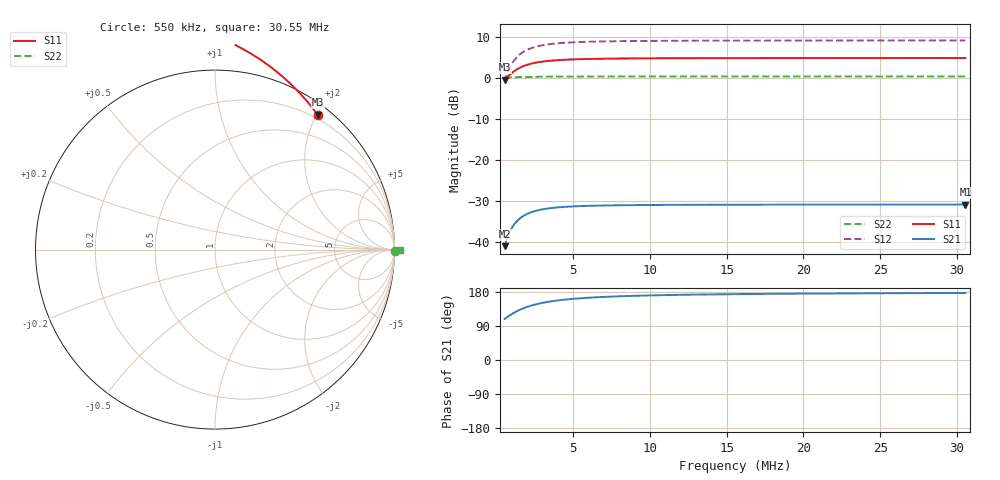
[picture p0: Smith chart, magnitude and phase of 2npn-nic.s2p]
# HZ S RI R 50
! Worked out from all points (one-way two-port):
!   2150 points, 550 kHz to 30.55 MHz, reference 50 ohm
!   highest |S21| = -30.96 dB at 30.55 MHz (marker M1); lowest = -41.1 dB at 550 kHz (marker M2)
!   lowest |S11| = -0.5 dB at 550 kHz (marker M3), VSWR 35.05, Z = 7.19 + j100 ohm
!   |S11| at or under -10 dB: nowhere
!   |S22| runs from 0.0 to 0.3 dB; largest |S21 - S12| = 2.9
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550000  0.5712 0.7522  -0.00273 0.00836  0.1925 -0.8625  1.002 -0.00959
675639.8  0.4635 0.8809  -0.00393 0.00979  0.3159 -1.01  1.004 -0.0112
829199.6  0.3196 1.01  -0.00553 0.0112  0.481 -1.158  1.005 -0.0129
982759.4  0.1694 1.11  -0.0072 0.0123  0.6531 -1.272  1.007 -0.0141
1164239  -0.00735 1.193  -0.00917 0.0133  0.8558 -1.367  1.01 -0.0152
1373639  -0.2015 1.249  -0.0113 0.0139  1.078 -1.432  1.012 -0.0159
1638879  -0.423 1.275  -0.0138 0.0142  1.332 -1.461  1.015 -0.0162
1959958  -0.6497 1.261  -0.0163 0.014  1.592 -1.445  1.018 -0.0161
2267078  -0.826 1.221  -0.0183 0.0136  1.794 -1.4  1.02 -0.0156
2588157  -0.9743 1.166  -0.0199 0.013  1.964 -1.337  1.022 -0.0149
3160517  -1.169 1.059  -0.0221 0.0118  2.188 -1.214  1.024 -0.0135
3816636  -1.317 0.9421  -0.0237 0.0105  2.358 -1.08  1.026 -0.012
4598395  -1.432 0.8238  -0.025 0.00916  2.488 -0.9444  1.028 -0.0105
5561633  -1.519 0.7076  -0.026 0.00787  2.589 -0.8112  1.029 -0.00902
6594672  -1.577 0.6116  -0.0266 0.0068  2.655 -0.7012  1.03 -0.00779
7753350  -1.618 0.5292  -0.0271 0.00588  2.703 -0.6067  1.03 -0.00674
1.055931e7  -1.67 0.3968  -0.0276 0.00441  2.762 -0.4549  1.031 -0.00506
1.283478e7  -1.69 0.3291  -0.0279 0.00366  2.785 -0.3773  1.031 -0.00419
1.555698e7  -1.704 0.273  -0.028 0.00303  2.801 -0.313  1.031 -0.00348
2.055465e7  -1.716 0.2076  -0.0282 0.00231  2.815 -0.238  1.031 -0.00265
2.555233e7  -1.722 0.1674  -0.0282 0.00186  2.822 -0.1919  1.031 -0.00213
3.055e7  -1.726 0.1402  -0.0283 0.00156  2.826 -0.1607  1.031 -0.00179
